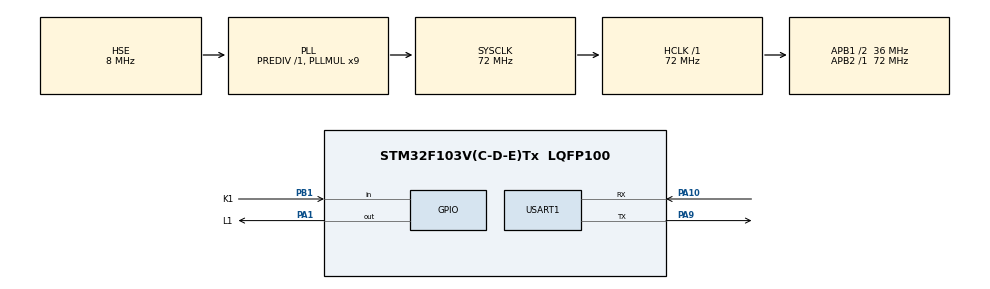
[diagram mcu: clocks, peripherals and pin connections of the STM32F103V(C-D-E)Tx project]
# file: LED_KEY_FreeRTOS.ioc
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FREERTOS.Queues01=myQueue,128,uint8_t,0,Dynamic,NULL,NULL
FREERTOS.Tasks01=defaultTask,8,128,StartDefaultTask,Default,NULL,Dynamic,NULL,NULL;TaskLED,9,128,StartTaskLED,Default,NULL,Dynamic,NULL,NULL;TaskMessage,24,128,StartTaskMessage,Default,NULL,Dynamic,NULL,NULL
Mcu.Family=STM32F1
Mcu.Name=STM32F103V(C-D-E)Tx
Mcu.Package=LQFP100
NVIC.PriorityGroup=NVIC_PRIORITYGROUP_4
NVIC.TIM7_IRQn=true\:15\:0\:false\:false\:true\:false\:false\:true\:true
NVIC.TimeBase=TIM7_IRQn
NVIC.TimeBaseIP=TIM7
NVIC.USART1_IRQn=true\:5\:0\:false\:false\:true\:true\:true\:true\:true
OSC_IN.Mode=HSE-External-Oscillator
OSC_IN.Signal=RCC_OSC_IN
OSC_OUT.Mode=HSE-External-Oscillator
OSC_OUT.Signal=RCC_OSC_OUT
PA1.GPIO_Label=L1
PA1.Signal=GPIO_Output
PA10.Mode=Asynchronous
PA10.Signal=USART1_RX
PA13.Mode=Serial_Wire
PA13.Signal=SYS_JTMS-SWDIO
PA14.Mode=Serial_Wire
PA14.Signal=SYS_JTCK-SWCLK
PA9.Mode=Asynchronous
PA9.Signal=USART1_TX
PB1.GPIO_Label=K1
PB1.GPIO_PuPd=GPIO_PULLUP
PB1.Signal=GPIO_Input
ProjectManager.HeapSize=0x200
ProjectManager.StackSize=0x400
ProjectManager.TargetToolchain=CMake
RCC.AHBFreq_Value=72000000
RCC.APB1CLKDivider=RCC_HCLK_DIV2
RCC.APB1Freq_Value=36000000
RCC.APB1TimFreq_Value=72000000
RCC.APB2Freq_Value=72000000
RCC.APB2TimFreq_Value=72000000
RCC.HCLKFreq_Value=72000000
RCC.PLLMUL=RCC_PLL_MUL9
RCC.PLLSourceVirtual=RCC_PLLSOURCE_HSE
RCC.SYSCLKFreq_VALUE=72000000
RCC.SYSCLKSource=RCC_SYSCLKSOURCE_PLLCLK
RCC.USBFreq_Value=72000000
USART1.VirtualMode=VM_ASYNC
VP_FREERTOS_VS_CMSIS_V2.Mode=CMSIS_V2
VP_SYS_VS_tim7.Mode=TIM7
board=custom

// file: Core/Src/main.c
/* USER CODE BEGIN Header */
/**
  ******************************************************************************
  * @file           : main.c
  * @brief          : Main program body
  ******************************************************************************
  * @attention
  *
  * Copyright (c) 2024 STMicroelectronics.
  * All rights reserved.
  *
  * This software is licensed under terms that can be found in the LICENSE file
  * in the root directory of this software component.
  * If no LICENSE file comes with this software, it is provided AS-IS.
  *
  ******************************************************************************
  */
/* USER CODE END Header */
#include "main.h"
#include "cmsis_os.h"
#include "usart.h"
#include "gpio.h"

void SystemClock_Config(void);
void MX_FREERTOS_Init(void);

int main(void)
{

  /* MCU Configuration--------------------------------------------------------*/

  /* Reset of all peripherals, Initializes the Flash interface and the Systick. */
  HAL_Init();

  /* Configure the system clock */
  SystemClock_Config();

  /* Initialize all configured peripherals */
  MX_GPIO_Init();
  MX_USART1_UART_Init();

  /* Init scheduler */
  osKernelInitialize();

  /* Call init function for freertos objects (in cmsis_os2.c) */
  MX_FREERTOS_Init();

  /* Start scheduler */
  osKernelStart();

  /* We should never get here as control is now taken by the scheduler */

  /* Infinite loop */
  while (1)
  {

  }
}

void SystemClock_Config(void)
{
  RCC_OscInitTypeDef RCC_OscInitStruct = {0};
  RCC_ClkInitTypeDef RCC_ClkInitStruct = {0};

  /** Initializes the RCC Oscillators according to the specified parameters
  * in the RCC_OscInitTypeDef structure.
  */
  RCC_OscInitStruct.OscillatorType = RCC_OSCILLATORTYPE_HSE;
  RCC_OscInitStruct.HSEState = RCC_HSE_ON;
  RCC_OscInitStruct.HSEPredivValue = RCC_HSE_PREDIV_DIV1;
  RCC_OscInitStruct.HSIState = RCC_HSI_ON;
  RCC_OscInitStruct.PLL.PLLState = RCC_PLL_ON;
  RCC_OscInitStruct.PLL.PLLSource = RCC_PLLSOURCE_HSE;
  RCC_OscInitStruct.PLL.PLLMUL = RCC_PLL_MUL9;
  if (HAL_RCC_OscConfig(&RCC_OscInitStruct) != HAL_OK)
  {
    Error_Handler();
  }

  /** Initializes the CPU, AHB and APB buses clocks
  */
  RCC_ClkInitStruct.ClockType = RCC_CLOCKTYPE_HCLK|RCC_CLOCKTYPE_SYSCLK
                              |RCC_CLOCKTYPE_PCLK1|RCC_CLOCKTYPE_PCLK2;
  RCC_ClkInitStruct.SYSCLKSource = RCC_SYSCLKSOURCE_PLLCLK;
  RCC_ClkInitStruct.AHBCLKDivider = RCC_SYSCLK_DIV1;
  RCC_ClkInitStruct.APB1CLKDivider = RCC_HCLK_DIV2;
  RCC_ClkInitStruct.APB2CLKDivider = RCC_HCLK_DIV1;

  if (HAL_RCC_ClockConfig(&RCC_ClkInitStruct, FLASH_LATENCY_2) != HAL_OK)
  {
    Error_Handler();
  }
}

void HAL_TIM_PeriodElapsedCallback(TIM_HandleTypeDef *htim)
{
  if (htim->Instance == TIM7) {
    HAL_IncTick();
  }
}

void Error_Handler(void)
{
  __disable_irq();
  while (1)
  {
  }
}

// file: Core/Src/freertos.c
/* USER CODE BEGIN Header */
/**
  ******************************************************************************
  * File Name          : freertos.c
  * Description        : Code for freertos applications
  ******************************************************************************
  * @attention
  *
  * Copyright (c) 2024 STMicroelectronics.
  * All rights reserved.
  *
  * This software is licensed under terms that can be found in the LICENSE file
  * in the root directory of this software component.
  * If no LICENSE file comes with this software, it is provided AS-IS.
  *
  ******************************************************************************
  */
/* USER CODE END Header */

#include "FreeRTOS.h"
#include "task.h"
#include "main.h"
#include "cmsis_os.h"

/* USER CODE BEGIN Includes */
#include "gpio.h"
#include "usart.h"
/* USER CODE END Includes */

/* USER CODE BEGIN Variables */
#define UART_MSG_MAX_LEN 128U
/* USER CODE END Variables */
/* Definitions for defaultTask */
osThreadId_t defaultTaskHandle;
const osThreadAttr_t defaultTask_attributes = {
  .name = "defaultTask",
  .stack_size = 128 * 4,
  .priority = (osPriority_t) osPriorityLow,
};
/* Definitions for TaskLED */
osThreadId_t TaskLEDHandle;
const osThreadAttr_t TaskLED_attributes = {
  .name = "TaskLED",
  .stack_size = 128 * 4,
  .priority = (osPriority_t) osPriorityLow1,
};
/* Definitions for TaskMessage */
osThreadId_t TaskMessageHandle;
const osThreadAttr_t TaskMessage_attributes = {
  .name = "TaskMessage",
  .stack_size = 128 * 4,
  .priority = (osPriority_t) osPriorityNormal,
};
/* Definitions for myQueue */
osMessageQueueId_t myQueueHandle;
const osMessageQueueAttr_t myQueue_attributes = {
  .name = "myQueue"
};

void StartDefaultTask(void *argument);
void StartTaskLED(void *argument);
void StartTaskMessage(void *argument);

void MX_FREERTOS_Init(void); /* (MISRA C 2004 rule 8.1) */

void MX_FREERTOS_Init(void) {

  /* Create the queue(s) */
  /* creation of myQueue */
  myQueueHandle = osMessageQueueNew (128, sizeof(uint8_t), &myQueue_attributes);

  /* Create the thread(s) */
  /* creation of defaultTask */
  defaultTaskHandle = osThreadNew(StartDefaultTask, NULL, &defaultTask_attributes);

  /* creation of TaskLED */
  TaskLEDHandle = osThreadNew(StartTaskLED, NULL, &TaskLED_attributes);

  /* creation of TaskMessage */
  TaskMessageHandle = osThreadNew(StartTaskMessage, NULL, &TaskMessage_attributes);

}

void StartDefaultTask(void *argument)
{
  /* USER CODE BEGIN StartDefaultTask */
  /* 占位任务：当没有其他工作时保持调度器运行 */
  for(;;)
  {
    osDelay(1);
  }
  /* USER CODE END StartDefaultTask */
}

void StartTaskLED(void *argument)
{
  /* USER CODE BEGIN StartTaskLED */
  for(;;)
  {
    HAL_GPIO_TogglePin(L1_GPIO_Port, L1_Pin);
    osDelay(500);
  }
  /* USER CODE END StartTaskLED */
}

void StartTaskMessage(void *argument)
{
  /* USER CODE BEGIN StartTaskMessage */
  UART1_Recive_Start(); // 启动UART接收中断
  uint8_t receive;
  uint8_t msg[UART_MSG_MAX_LEN];
  uint32_t msg_len = 0;
  for (;;)
  {
    // 等待串口中断放入队列的数据
    if (osMessageQueueGet(myQueueHandle, &receive, NULL, osWaitForever) == osOK)
    {
      // 以回车/换行作为一条字符串结束符
      if ((receive == '\r') || (receive == '\n'))
      {
        if (msg_len > 0U)
        {
          HAL_UART_Transmit(&huart1, msg, msg_len, HAL_MAX_DELAY);
          HAL_UART_Transmit(&huart1, (uint8_t *)"\r\n", 2U, HAL_MAX_DELAY);
          msg_len = 0U;
        }
      }
      else
      {
        if (msg_len < (UART_MSG_MAX_LEN - 1U))
        {
          msg[msg_len++] = receive;
        }
        else
        {
          // 超过缓存上限时先回传当前缓存内容，避免阻塞后续接收
          HAL_UART_Transmit(&huart1, msg, msg_len, HAL_MAX_DELAY);
          HAL_UART_Transmit(&huart1, (uint8_t *)"\r\n", 2U, HAL_MAX_DELAY);
          msg_len = 0U;
        }
      }
    }
  }
  /* USER CODE END StartTaskMessage */
}
